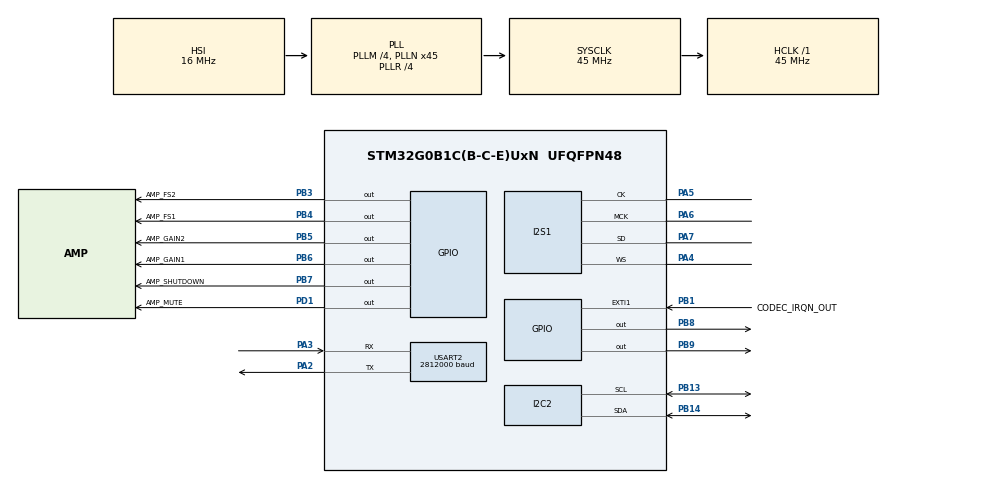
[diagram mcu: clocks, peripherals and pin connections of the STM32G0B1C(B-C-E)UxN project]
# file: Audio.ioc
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Dma.Request0=SPI1_TX
Dma.SPI1_TX.0.Direction=DMA_MEMORY_TO_PERIPH
Dma.SPI1_TX.0.EventEnable=DISABLE
Dma.SPI1_TX.0.Instance=DMA1_Channel1
Dma.SPI1_TX.0.MemDataAlignment=DMA_MDATAALIGN_HALFWORD
Dma.SPI1_TX.0.MemInc=DMA_MINC_ENABLE
Dma.SPI1_TX.0.Mode=DMA_CIRCULAR
Dma.SPI1_TX.0.PeriphDataAlignment=DMA_PDATAALIGN_HALFWORD
Dma.SPI1_TX.0.PeriphInc=DMA_PINC_DISABLE
Dma.SPI1_TX.0.Polarity=HAL_DMAMUX_REQ_GEN_RISING
Dma.SPI1_TX.0.Priority=DMA_PRIORITY_LOW
Dma.SPI1_TX.0.RequestNumber=1
Dma.SPI1_TX.0.SignalID=NONE
Dma.SPI1_TX.0.SyncEnable=DISABLE
Dma.SPI1_TX.0.SyncPolarity=HAL_DMAMUX_SYNC_NO_EVENT
Dma.SPI1_TX.0.SyncRequestNumber=1
Dma.SPI1_TX.0.SyncSignalID=NONE
I2C2.Timing=0xC0000E12
I2S1.AudioFreq=AudioFreqCustomValue
I2S1.AudioFreqCustom=44100
I2S1.ErrorAudioFreq=-0.12 %
I2S1.FullDuplexMode=I2S_FULLDUPLEXMODE_DISABLE
I2S1.Instance=SPI$Index
I2S1.RealAudioFreq=43.945 KHz
I2S1.Standard=I2S_STANDARD_PHILIPS
I2S1.VirtualMode=I2S_MODE_MASTER
Mcu.Family=STM32G0
Mcu.Name=STM32G0B1C(B-C-E)UxN
Mcu.Package=UFQFPN48
NVIC.DMA1_Channel1_IRQn=true\:0\:0\:false\:false\:true\:false\:true\:true
NVIC.SPI1_IRQn=true\:0\:0\:false\:false\:true\:true\:true\:true
NVIC.USART2_LPUART2_IRQn=true\:0\:0\:false\:false\:true\:true\:true\:true
PA2.Mode=Asynchronous
PA2.Signal=USART2_TX
PA3.Mode=Asynchronous
PA3.Signal=USART2_RX
PA4.Mode=Half_Duplex_Master
PA4.Signal=I2S1_WS
PA5.Mode=Half_Duplex_Master
PA5.Signal=I2S1_CK
PA6.Mode=Master_Clock_Activated
PA6.Signal=I2S1_MCK
PA7.Mode=Half_Duplex_Master
PA7.Signal=I2S1_SD
PB1.GPIO_Label=CODEC_IRQN_OUT
PB1.Signal=GPXTI1
PB13.Mode=I2C
PB13.Signal=I2C2_SCL
PB14.Mode=I2C
PB14.Signal=I2C2_SDA
PB3.GPIO_Label=AMP_FS2
PB3.Signal=GPIO_Output
PB4.GPIO_Label=AMP_FS1
PB4.Signal=GPIO_Output
PB5.GPIO_Label=AMP_GAIN2
PB5.Signal=GPIO_Output
PB6.GPIO_Label=AMP_GAIN1
PB6.Signal=GPIO_Output
PB7.GPIO_Label=AMP_SHUTDOWN
PB7.Signal=GPIO_Output
PB8.Signal=GPIO_Output
PB9.Signal=GPIO_Output
PD1.GPIO_Label=AMP_MUTE
PD1.Signal=GPIO_Output
ProjectManager.HeapSize=0x200
ProjectManager.StackSize=0x400
ProjectManager.TargetToolchain=STM32CubeIDE
RCC.ADCFreq_Value=45000000
RCC.AHBFreq_Value=45000000
RCC.CortexFreq_Value=45000000
RCC.EXTERNAL_CLOCK_VALUE=48000
RCC.HCLKFreq_Value=45000000
RCC.HSE_VALUE=8000000
RCC.HSI48_VALUE=48000000
RCC.HSI_VALUE=16000000
RCC.LSE_VALUE=32768
RCC.PLLM=RCC_PLLM_DIV4
RCC.PLLN=45
RCC.PLLP=RCC_PLLP_DIV4
RCC.PLLR=RCC_PLLR_DIV4
RCC.SYSCLKFreq_VALUE=45000000
RCC.SYSCLKSource=RCC_SYSCLKSOURCE_PLLCLK
RCC.USBFreq_Value=48000000
RCC.VCOOutputFreq_Value=180000000
USART2.BaudRate=2812000
USART2.FIFOMode=FIFOMODE_ENABLE
USART2.VirtualMode-Asynchronous=VM_ASYNC
VP_SYS_VS_DBSignals.Mode=DisableDeadBatterySignals
board=custom

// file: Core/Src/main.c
/* USER CODE BEGIN Header */
/**
  ******************************************************************************
  * @file           : main.c
  * @brief          : Main program body
  ******************************************************************************
  * @attention
  *
  * Copyright (c) 2024 STMicroelectronics.
  * All rights reserved.
  *
  * This software is licensed under terms that can be found in the LICENSE file
  * in the root directory of this software component.
  * If no LICENSE file comes with this software, it is provided AS-IS.
  *
  ******************************************************************************
  */
/* USER CODE END Header */
#include "main.h"

/* USER CODE BEGIN Includes */
#include "MAX9704_Amplifier.h"
#include "MAX9867_Codec.h"
#include <string.h>
/* USER CODE END Includes */

/* USER CODE BEGIN PD */
#define BUFFER_FULL_SIZE	4096
#define BUFFER_HALF_SIZE	2048
/* USER CODE END PD */

 I2C_HandleTypeDef hi2c2;

I2S_HandleTypeDef hi2s1;
DMA_HandleTypeDef hdma_spi1_tx;

UART_HandleTypeDef huart2;

/* USER CODE BEGIN PV */
uint8_t rx[BUFFER_FULL_SIZE]={0};
uint8_t flag = 2;
uint8_t once = 1;
/* USER CODE END PV */

void SystemClock_Config(void);
static void MX_GPIO_Init(void);
static void MX_I2C2_Init(void);
static void MX_DMA_Init(void);
static void MX_I2S1_Init(void);
static void MX_USART2_UART_Init(void);

int main(void)
{

  /* MCU Configuration--------------------------------------------------------*/

  /* Reset of all peripherals, Initializes the Flash interface and the Systick. */
  HAL_Init();

  /* Configure the system clock */
  SystemClock_Config();

  /* Initialize all configured peripherals */
  MX_GPIO_Init();
  MX_I2C2_Init();
  MX_DMA_Init();
  MX_I2S1_Init();
  MX_USART2_UART_Init();
  /* USER CODE BEGIN 2 */

  MAX9704_AmpInit(SWITCHING_MODE_670KHZ, GAIN_MODE_29dB);
  MAX9867_CodecInit(DAC_LVL_GAIN_MINUS_15dB,PLAYBACK_VOLUME_GAIN_PLUS_1dB,PLAYBACK_VOLUME_GAIN_PLUS_1dB);

  HAL_UART_Receive_IT(&huart2, &rx[0], BUFFER_FULL_SIZE);
  HAL_UART_Transmit(&huart2, &flag, 1, 2000);
  flag=1;
  /* USER CODE END 2 */

  /* Infinite loop */
  while (1)
  {

  }
}

void SystemClock_Config(void)
{
  RCC_OscInitTypeDef RCC_OscInitStruct = {0};
  RCC_ClkInitTypeDef RCC_ClkInitStruct = {0};

  /** Configure the main internal regulator output voltage
  */
  HAL_PWREx_ControlVoltageScaling(PWR_REGULATOR_VOLTAGE_SCALE1);

  /** Initializes the RCC Oscillators according to the specified parameters
  * in the RCC_OscInitTypeDef structure.
  */
  RCC_OscInitStruct.OscillatorType = RCC_OSCILLATORTYPE_HSI;
  RCC_OscInitStruct.HSIState = RCC_HSI_ON;
  RCC_OscInitStruct.HSIDiv = RCC_HSI_DIV1;
  RCC_OscInitStruct.HSICalibrationValue = RCC_HSICALIBRATION_DEFAULT;
  RCC_OscInitStruct.PLL.PLLState = RCC_PLL_ON;
  RCC_OscInitStruct.PLL.PLLSource = RCC_PLLSOURCE_HSI;
  RCC_OscInitStruct.PLL.PLLM = RCC_PLLM_DIV4;
  RCC_OscInitStruct.PLL.PLLN = 45;
  RCC_OscInitStruct.PLL.PLLP = RCC_PLLP_DIV4;
  RCC_OscInitStruct.PLL.PLLQ = RCC_PLLQ_DIV2;
  RCC_OscInitStruct.PLL.PLLR = RCC_PLLR_DIV4;
  if (HAL_RCC_OscConfig(&RCC_OscInitStruct) != HAL_OK)
  {
    Error_Handler();
  }

  /** Initializes the CPU, AHB and APB buses clocks
  */
  RCC_ClkInitStruct.ClockType = RCC_CLOCKTYPE_HCLK|RCC_CLOCKTYPE_SYSCLK
                              |RCC_CLOCKTYPE_PCLK1;
  RCC_ClkInitStruct.SYSCLKSource = RCC_SYSCLKSOURCE_PLLCLK;
  RCC_ClkInitStruct.AHBCLKDivider = RCC_SYSCLK_DIV1;
  RCC_ClkInitStruct.APB1CLKDivider = RCC_HCLK_DIV1;

  if (HAL_RCC_ClockConfig(&RCC_ClkInitStruct, FLASH_LATENCY_1) != HAL_OK)
  {
    Error_Handler();
  }
}

static void MX_I2C2_Init(void)
{

  hi2c2.Instance = I2C2;
  hi2c2.Init.Timing = 0xC0000E12;
  hi2c2.Init.OwnAddress1 = 0;
  hi2c2.Init.AddressingMode = I2C_ADDRESSINGMODE_7BIT;
  hi2c2.Init.DualAddressMode = I2C_DUALADDRESS_DISABLE;
  hi2c2.Init.OwnAddress2 = 0;
  hi2c2.Init.OwnAddress2Masks = I2C_OA2_NOMASK;
  hi2c2.Init.GeneralCallMode = I2C_GENERALCALL_DISABLE;
  hi2c2.Init.NoStretchMode = I2C_NOSTRETCH_DISABLE;
  if (HAL_I2C_Init(&hi2c2) != HAL_OK)
  {
    Error_Handler();
  }

  /** Configure Analogue filter
  */
  if (HAL_I2CEx_ConfigAnalogFilter(&hi2c2, I2C_ANALOGFILTER_ENABLE) != HAL_OK)
  {
    Error_Handler();
  }

  /** Configure Digital filter
  */
  if (HAL_I2CEx_ConfigDigitalFilter(&hi2c2, 0) != HAL_OK)
  {
    Error_Handler();
  }

}

static void MX_I2S1_Init(void)
{

  hi2s1.Instance = SPI1;
  hi2s1.Init.Mode = I2S_MODE_MASTER_TX;
  hi2s1.Init.Standard = I2S_STANDARD_PHILIPS;
  hi2s1.Init.DataFormat = I2S_DATAFORMAT_16B;
  hi2s1.Init.MCLKOutput = I2S_MCLKOUTPUT_ENABLE;
  hi2s1.Init.AudioFreq = 44100;
  hi2s1.Init.CPOL = I2S_CPOL_LOW;
  if (HAL_I2S_Init(&hi2s1) != HAL_OK)
  {
    Error_Handler();
  }

}

static void MX_USART2_UART_Init(void)
{

  huart2.Instance = USART2;
  huart2.Init.BaudRate = 2812000;
  huart2.Init.WordLength = UART_WORDLENGTH_8B;
  huart2.Init.StopBits = UART_STOPBITS_1;
  huart2.Init.Parity = UART_PARITY_NONE;
  huart2.Init.Mode = UART_MODE_TX_RX;
  huart2.Init.HwFlowCtl = UART_HWCONTROL_NONE;
  huart2.Init.OverSampling = UART_OVERSAMPLING_16;
  huart2.Init.OneBitSampling = UART_ONE_BIT_SAMPLE_DISABLE;
  huart2.Init.ClockPrescaler = UART_PRESCALER_DIV1;
  huart2.AdvancedInit.AdvFeatureInit = UART_ADVFEATURE_NO_INIT;
  if (HAL_UART_Init(&huart2) != HAL_OK)
  {
    Error_Handler();
  }
  if (HAL_UARTEx_SetTxFifoThreshold(&huart2, UART_TXFIFO_THRESHOLD_1_8) != HAL_OK)
  {
    Error_Handler();
  }
  if (HAL_UARTEx_SetRxFifoThreshold(&huart2, UART_RXFIFO_THRESHOLD_1_8) != HAL_OK)
  {
    Error_Handler();
  }
  if (HAL_UARTEx_EnableFifoMode(&huart2) != HAL_OK)
  {
    Error_Handler();
  }

}

static void MX_DMA_Init(void)
{

  /* DMA controller clock enable */
  __HAL_RCC_DMA1_CLK_ENABLE();

  /* DMA interrupt init */
  /* DMA1_Channel1_IRQn interrupt configuration */
  HAL_NVIC_SetPriority(DMA1_Channel1_IRQn, 0, 0);
  HAL_NVIC_EnableIRQ(DMA1_Channel1_IRQn);

}

static void MX_GPIO_Init(void)
{
  GPIO_InitTypeDef GPIO_InitStruct = {0};

  /* GPIO Ports Clock Enable */
  __HAL_RCC_GPIOA_CLK_ENABLE();
  __HAL_RCC_GPIOB_CLK_ENABLE();
  __HAL_RCC_GPIOD_CLK_ENABLE();

  /*Configure GPIO pin Output Level */
  HAL_GPIO_WritePin(AMP_MUTE_GPIO_Port, AMP_MUTE_Pin, GPIO_PIN_RESET);

  /*Configure GPIO pin Output Level */
  HAL_GPIO_WritePin(GPIOB, AMP_FS2_Pin|AMP_FS1_Pin|AMP_GAIN2_Pin|AMP_GAIN1_Pin
                          |AMP_SHUTDOWN_Pin|GPIO_PIN_8|GPIO_PIN_9, GPIO_PIN_RESET);

  /*Configure GPIO pin : CODEC_IRQN_OUT_Pin */
  GPIO_InitStruct.Pin = CODEC_IRQN_OUT_Pin;
  GPIO_InitStruct.Mode = GPIO_MODE_IT_RISING;
  GPIO_InitStruct.Pull = GPIO_NOPULL;
  HAL_GPIO_Init(CODEC_IRQN_OUT_GPIO_Port, &GPIO_InitStruct);

  /*Configure GPIO pin : AMP_MUTE_Pin */
  GPIO_InitStruct.Pin = AMP_MUTE_Pin;
  GPIO_InitStruct.Mode = GPIO_MODE_OUTPUT_PP;
  GPIO_InitStruct.Pull = GPIO_NOPULL;
  GPIO_InitStruct.Speed = GPIO_SPEED_FREQ_LOW;
  HAL_GPIO_Init(AMP_MUTE_GPIO_Port, &GPIO_InitStruct);

  /*Configure GPIO pins : AMP_FS2_Pin AMP_FS1_Pin AMP_GAIN2_Pin AMP_GAIN1_Pin
                           AMP_SHUTDOWN_Pin PB8 PB9 */
  GPIO_InitStruct.Pin = AMP_FS2_Pin|AMP_FS1_Pin|AMP_GAIN2_Pin|AMP_GAIN1_Pin
                          |AMP_SHUTDOWN_Pin|GPIO_PIN_8|GPIO_PIN_9;
  GPIO_InitStruct.Mode = GPIO_MODE_OUTPUT_PP;
  GPIO_InitStruct.Pull = GPIO_NOPULL;
  GPIO_InitStruct.Speed = GPIO_SPEED_FREQ_LOW;
  HAL_GPIO_Init(GPIOB, &GPIO_InitStruct);

}

/* USER CODE BEGIN 4 */

/**
  * @brief  Tx Half Transfer completed callbacks.
  * @param  hi2s: I2S handle
  */
void HAL_I2S_TxHalfCpltCallback(I2S_HandleTypeDef *hi2s)
{
	HAL_GPIO_WritePin(GPIOB, GPIO_PIN_8, RESET);
  if(hi2s->Instance == SPI1)
  {
			HAL_GPIO_WritePin(GPIOB, GPIO_PIN_8, SET);
			HAL_GPIO_WritePin(GPIOB, GPIO_PIN_9, SET);
			HAL_UART_Receive_IT(&huart2, &rx[0], BUFFER_HALF_SIZE);
			HAL_UART_Transmit(&huart2, &flag, 1, 1000);
  }
}

void HAL_I2S_TxCpltCallback(I2S_HandleTypeDef *hi2s)
{
  HAL_GPIO_WritePin(GPIOB, GPIO_PIN_8, RESET);
  if(hi2s->Instance == SPI1)
  {
			HAL_GPIO_WritePin(GPIOB, GPIO_PIN_8, SET);
			HAL_GPIO_WritePin(GPIOB, GPIO_PIN_9, SET);
			HAL_UART_Receive_IT(&huart2, &rx[BUFFER_HALF_SIZE], BUFFER_HALF_SIZE);
			HAL_UART_Transmit(&huart2, &flag, 1, 1000);
  }
}

/* for receive audio data on uart */
void HAL_UART_RxCpltCallback(UART_HandleTypeDef *huart)
{
	HAL_GPIO_WritePin(GPIOB, GPIO_PIN_9, RESET);
	if(huart->Instance == USART2)
	{
		if(once == 1)
		{
			HAL_I2S_Transmit_DMA(&hi2s1, (uint16_t *)rx, BUFFER_HALF_SIZE);
			once = 0;
		}
	}
}

/* USER CODE END 4 */

void Error_Handler(void)
{
  __disable_irq();
  while (1)
  {
  }
}
